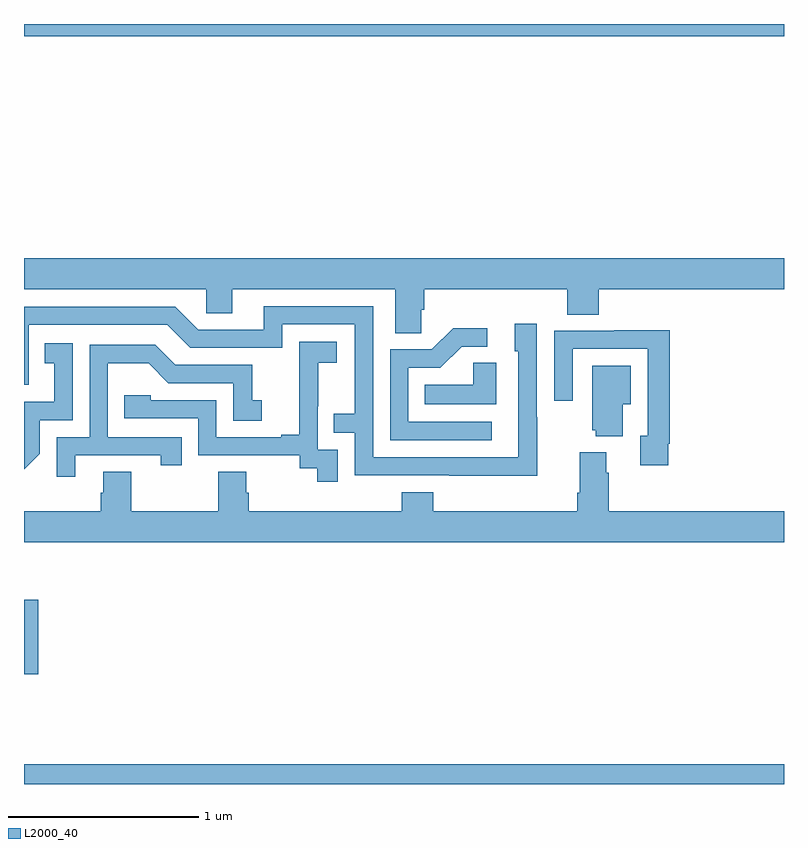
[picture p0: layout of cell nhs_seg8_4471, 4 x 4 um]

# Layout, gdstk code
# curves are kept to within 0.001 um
import gdstk
lib = gdstk.Library(unit=1e-6, precision=1e-09)
def R(c, l, rs):  # rectangles x0, y0, x1, y1
    for r in rs: c.add(gdstk.rectangle(r[:2], r[2:], *l))
def P(c, l, *ps):  # polygons
    for p in ps: c.add(gdstk.Polygon(p, *l))
L2000_40 = (2000, 40)

nhs_seg8_4471 = lib.new_cell('nhs_seg8_4471')
R(nhs_seg8_4471, L2000_40, [(383,1109.9,387,1110.004), (383,1110.477,383.075,1110.871), (383,1113.836,387,1113.9)])
P(nhs_seg8_4471, L2000_40, [(385.092,1112.395),(385.106,1112.395),(385.106,1112.504),(385.859,1112.504),(385.859,1112.371),(386.024,1112.371),(386.024,1112.504),(387,1112.504),(387,1112.668),(383,1112.668),(383,1112.504),(383.958,1112.504),(383.958,1112.377),(384.097,1112.377),(384.097,1112.504),(384.953,1112.504),(384.953,1112.272),(385.092,1112.272)],
  [(385.701,1111.829),(385.698,1111.829),(385.698,1112.323),(385.583,1112.323),(385.583,1112.178),(385.602,1112.178),(385.602,1111.62),(384.837,1111.62),(384.837,1112.415),(384.263,1112.415),(384.263,1112.292),(383.916,1112.292),(383.796,1112.412),(383,1112.412),(383,1112.001),(383.025,1112.001),(383.025,1112.316),(383.754,1112.316),(383.874,1112.196),(384.36,1112.196),(384.36,1112.319),(384.741,1112.319),(384.741,1111.85),(384.631,1111.85),(384.631,1111.749),(384.741,1111.749),(384.741,1111.524),(385.701,1111.523)],
  [(385.462,1111.806),(385.023,1111.806),(385.023,1112.091),(385.192,1112.091),(385.303,1112.202),(385.438,1112.202),(385.438,1112.3),(385.259,1112.3),(385.146,1112.187),(384.927,1112.187),(384.927,1111.71),(385.462,1111.71)],
  [(386.392,1111.69),(386.399,1111.69),(386.399,1112.288),(386.107,1112.288),(386.107,1112.286),(385.791,1112.286),(385.791,1111.917),(385.887,1111.917),(385.887,1112.19),(386.283,1112.19),(386.283,1111.734),(386.243,1111.734),(386.243,1111.578),(386.392,1111.578)],
  [(384.651,1111.659),(384.546,1111.659),(384.546,1111.889),(384.548,1111.889),(384.548,1112.117),(384.646,1112.117),(384.646,1112.227),(384.448,1112.227),(384.448,1112.021),(384.449,1112.021),(384.449,1111.738),(384.353,1111.738),(384.353,1111.725),(384.012,1111.725),(384.012,1111.92),(383.667,1111.92),(383.667,1111.947),(383.527,1111.947),(383.527,1111.824),(383.916,1111.824),(383.916,1111.629),(384.45,1111.629),(384.45,1111.561),(384.543,1111.561),(384.543,1111.491),(384.651,1111.491)],
  [(383.082,1111.638),(383.082,1111.815),(383.256,1111.815),(383.256,1112.221),(383.11,1112.221),(383.11,1112.115),(383.159,1112.115),(383.159,1111.911),(383,1111.911),(383,1111.557)],
  [(383.269,1111.629),(383.72,1111.629),(383.72,1111.578),(383.831,1111.578),(383.831,1111.725),(383.442,1111.725),(383.442,1112.114),(383.656,1112.114),(383.76,1112.01),(384.102,1112.01),(384.102,1111.812),(384.25,1111.812),(384.25,1111.921),(384.201,1111.921),(384.201,1112.106),(383.797,1112.106),(383.692,1112.211),(383.346,1112.211),(383.346,1111.725),(383.172,1111.725),(383.172,1111.518),(383.269,1111.518)],
  [(385.486,1112.117),(385.365,1112.117),(385.365,1112.002),(385.108,1112.002),(385.108,1111.898),(385.486,1111.898)],
  [(386.152,1111.898),(386.194,1111.898),(386.194,1112.101),(385.991,1112.101),(385.991,1111.761),(386.009,1111.761),(386.009,1111.73),(386.152,1111.73)],
  [(387,1111.336),(386.078,1111.336),(386.078,1111.538),(386.065,1111.538),(386.065,1111.645),(385.925,1111.645),(385.925,1111.432),(385.913,1111.432),(385.913,1111.336),(385.154,1111.336),(385.154,1111.435),(384.989,1111.435),(384.989,1111.336),(384.182,1111.336),(384.182,1111.434),(384.169,1111.434),(384.169,1111.544),(384.022,1111.544),(384.022,1111.336),(383.565,1111.336),(383.565,1111.544),(383.417,1111.544),(383.417,1111.434),(383.405,1111.434),(383.405,1111.336),(383,1111.336),(383,1111.172),(387,1111.172)])

lib.write_gds('nhs_seg8_4471.gds')
